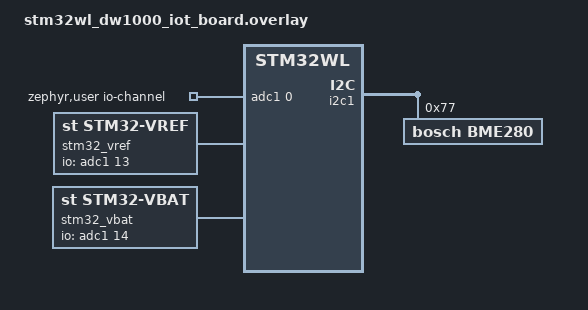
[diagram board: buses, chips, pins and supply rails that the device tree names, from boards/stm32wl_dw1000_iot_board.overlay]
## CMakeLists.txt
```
cmake_minimum_required(VERSION 3.20.0)

find_package(Zephyr REQUIRED HINTS $ENV{ZEPHYR_BASE})
project(stm32wle5_rtos_6sens)

FILE(GLOB app_sources src/*.c)
target_sources(app PRIVATE ${app_sources})
```

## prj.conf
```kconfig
# Debugger support
CONFIG_UART_CONSOLE=y
CONFIG_CONSOLE=y

# Communication Bus Support
CONFIG_GPIO=y
CONFIG_SPI=y
CONFIG_I2C=y

# Hardware Support
CONFIG_SENSOR=y
CONFIG_ADC=y

# Flash and EEPROM Memory Support
CONFIG_EEPROM=y
CONFIG_NVS=y
CONFIG_FLASH=y
CONFIG_FLASH_PAGE_LAYOUT=y
CONFIG_MPU_ALLOW_FLASH_WRITE=y

# LoRa Support
CONFIG_LORA=y

# LoraWAN Support
CONFIG_LORAWAN=y
CONFIG_LORAMAC_REGION_EU868=y
CONFIG_LORAWAN_APP_CLOCK_SYNC=y
CONFIG_LORAWAN_SERVICES=y
CONFIG_LORAWAN_SYSTEM_MAX_RX_ERROR=200

# Stack Support
CONFIG_MAIN_STACK_SIZE=2048
CONFIG_SYSTEM_WORKQUEUE_STACK_SIZE=2048
```

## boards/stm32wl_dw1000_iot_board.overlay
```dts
/*
 * Copyright (c) 2023
 * Regis Rousseau
 * Univ Lyon, INSA Lyon, Inria, CITI, EA3720
 * SPDX-License-Identifier: Apache-2.0
 */

/* configuration of ADC for geophone sensor */
/* adjust channel number according to pinmux in board.dts */
/* PB13 ADC_GSONE -> ADC_IN0 - see datasheet Pinout Config pg 57/149*/

/ {
	zephyr,user {
		io-channels = <&adc1 0>;
	};

/* channel IN0 configuration for geophone */
	#address-cells = <1>;
	#size-cells = <0>;
	channel@0 {
		reg = <0>;
		zephyr,gain = "ADC_GAIN_1";
		zephyr,reference = "ADC_REF_INTERNAL";
		zephyr,acquisition-time = <ADC_ACQ_TIME_MAX>;
		zephyr,resolution = <12>;
	};
	status = "okay";
};

/* VREF internal voltage monitoring */
/* internal voltage reference of STM32, IN13 - see datasheet pg 42/149 */
/* Vrefint = 1232mV max - see datasheet pg 78/149, table 36 */
/ {
	stm32_vref: stm32vref {
    	compatible = "st,stm32-vref";
		io-channels = <&adc1 13>;
		vrefint-cal-addr = <13>;
		vrefint-cal-mv = <1232>;
    	status = "okay";
	};
};

/* VBAT battery voltage monitoring - see datasheet pg 42/149, part 3.18.3 */
/* internal ADC channnel of STM32, IN14 */
/* ratio = 3 -> the converted digital value is 1/3 of vbat */
/ {
	stm32_vbat: stm32vbat {
    	compatible = "st,stm32-vbat";
    	io-channels = <&adc1 14>;
   		ratio = <3>;
    	status = "okay";
	};
};

/* config of BME280 sensor (temperature and Humidity) on i2c bus */
/* address 0x77 --> Address Chip Select on high level (VDD) */
&i2c1 {
	status = "okay";
	bme280@77 {
		compatible = "bosch,bme280";
		reg = <0x77>;
	};
};
```

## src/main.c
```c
#include <zephyr/device.h>
#include <zephyr/kernel.h>
#include "app_lorawan.h"
#include "app_flash.h"

//  ======== globals ============================================
uint16_t cnt;           // declaration of counter index

//  ======== interrupt sub-routine ===============================
void adc_work_handler(struct k_work *work_geo)
{
	const struct device *dev;
	app_rom_handler(dev);
	cnt++;
}
K_WORK_DEFINE(geo_work, adc_work_handler);

void adc_timer_handler(struct k_timer *timer)
{
	k_work_submit(&geo_work);
}
K_TIMER_DEFINE(adc_timer, adc_timer_handler, NULL);

//  ======== main ===============================================
int8_t main(void)
{
	const struct device *dev;
	struct nvs_fs fs;
	uint16_t vbat;
	cnt = 0;
	uint32_t max_cnt = 0;
	int8_t ret;
	
	// initialization of all devices
	app_bme280_init(dev);
	app_stm32_vbat_init(dev);
	app_rom_init(dev);
	app_flash_init(&fs);

	// initialization of LoRaWAN
	app_lorawan_init(dev);

	printk("Geophone Measurement and Process Information\nBoard: %s\n", CONFIG_BOARD);
	
	// beginning of isr timer
	k_timer_start(&adc_timer, K_NO_WAIT, K_MSEC(5));

	while (1) {
		// counter value for waiting 30 min -> 1 800 000ms
		if (cnt >= 1800000) {
			app_flash_handler(&fs);
		}
	}
	return 0;
}
```

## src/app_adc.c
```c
/*
 * Copyright (c) 2023
 * Regis Rousseau
 * Univ Lyon, INSA Lyon, Inria, CITI, EA3720
 * SPDX-License-Identifier: Apache-2.0
 */

#include "app_adc.h"

//  ======== globals ============================================
uint16_t sp_buf;		

static const struct adc_dt_spec adc_channels[] = {
	DT_FOREACH_PROP_ELEM(DT_PATH(zephyr_user), io_channels, DT_SPEC_AND_COMMA)
};

struct adc_sequence adc_ch0_seq = {
	.buffer 		= &sp_buf,
	.buffer_size	= sizeof(sp_buf),
};

//  ======== app_adc_get_val ====================================
uint16_t app_adc_get_val(uint16_t val)
{
	int8_t err;
	uint16_t val_mv, buf;

	// getting STM32 ADC device at GPIO IN0 PB13
	for (size_t i = 0U; i < ARRAY_SIZE(adc_channels); i++) {
		if (!device_is_ready(adc_channels[i].dev)) {
			printk("ADC controller device %s not ready\n", adc_channels[i].dev->name);
		return 0;
		}
		
		// getting channel setup in devicetree
		err = adc_channel_setup_dt(&adc_channels[i]);
		if (err < 0) {
			printk("could not setup channel 0. error: %d\n", err);
			return 0;
		}
	}

	for (size_t i = 0U; i < ARRAY_SIZE(adc_channels); i++) {
		// initialization of channel and getting data
		(void)adc_sequence_init_dt(&adc_channels[i], &adc_ch0_seq);

		// getting value and printing numerical data
		// resolution 12 bits: 0 to 4095 (uint16)
		(void)adc_read(adc_channels[i].dev, &adc_ch0_seq);
		buf = (sp_buf*val)/4096;
		val_mv = (sp_buf*val)/3300;
		printk("buffer: %"PRIu16", adc num: %"PRIu16" - adc mv: %"PRIu16"\n", sp_buf, buf, val_mv);
	}
	return buf;
}
```

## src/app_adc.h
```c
/*
 * Copyright (c) 2023
 * Regis Rousseau
 * Univ Lyon, INSA Lyon, Inria, CITI, EA3720
 * SPDX-License-Identifier: Apache-2.0
 */

#ifndef APP_ADC_H
#define APP_ADC_H

//  ======== includes =============================================
#include <zephyr/kernel.h>
#include <zephyr/device.h>
#include <zephyr/drivers/adc.h>

//  ======== defines ==============================================
#define DT_SPEC_AND_COMMA(node_id, prop, idx)   ADC_DT_SPEC_GET_BY_IDX(node_id, idx)

//  ======== prototypes ===========================================
uint16_t app_adc_get_val(uint16_t val);

#endif /* APP_ADC_H */
```

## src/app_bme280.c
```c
/*
 * Copyright (c) 2023
 * Regis Rousseau
 * Univ Lyon, INSA Lyon, Inria, CITI, EA3720
 * SPDX-License-Identifier: Apache-2.0
 */

#include "app_bme280.h"

//  ======== app_bme280_init ============================================
int8_t app_bme280_init(const struct device *dev)
{
    // getting bme280 sensor i2c device (SDA: PA10, SCL:PA8)
    dev = DEVICE_DT_GET_ANY(bosch_bme280);
    if (dev == NULL) {
        printk("error: no bme280 device found\n");
		return 0;
	}

    if (!device_is_ready(dev)) {
		printk("error: bme280 is not ready\n");
		return 0;
	} else {
        printk("- found device \"%s\", getting bme280 data\n", dev->name);
    }
    return 0;
}

//  ======== app_bme280_get_temp ========================================
uint16_t app_bme280_get_temp(const struct device *dev)
{
    struct sensor_value temp_int32;
    uint16_t temp_uint16;
    int8_t ret;

    // fetching data
	ret = sensor_sample_fetch(dev);
    if (ret < 0 && ret != -EBADMSG) { 
	    printk("bme280 device sample is not up to date. error: %d\n", ret);
	    return 0;
    }

    // getting channel function
	ret = sensor_channel_get(dev, SENSOR_CHAN_AMBIENT_TEMP, &temp_int32);
    if (ret < 0) {
        printk("can't read sensor channels. error: %d\n", ret);
	    return 0;
    }

    // temperature received from channel get
    // resolution 12 bits: 0 to 4095 (uint16)
    temp_uint16 = (uint16_t)(sensor_value_to_milli(&temp_int32)/1000);
    printk("bme280 temp: %"PRIu16"\n", temp_uint16);
    return temp_uint16;
}

//  ======== app_bme280_get_press =======================================
uint16_t app_bme280_get_press(const struct device *dev)
{
    struct sensor_value press_int32;
    uint16_t press_uint16;
    int8_t ret;


    // fetching data
	ret = sensor_sample_fetch(dev);
    if (ret < 0 && ret != -EBADMSG) { 
	    printk("bme280 device sample is not up to date. error: %d\n", ret);
	    return 0;
    }

    // getting channel function
	ret = sensor_channel_get(dev, SENSOR_CHAN_PRESS, &press_int32);
    if (ret < 0) {
        printk("can't read sensor channels. error: %d\n", ret);
	    return 0;
    }

    // pressure received from channel get
    // resolution 12 bits: 0 to 4095 (uint16)
    press_uint16 = (uint16_t)(sensor_value_to_milli(&press_int32)/1000);
    printk("bme280 pressure: %"PRIu16"\n", press_uint16);
    return press_uint16;
}

//  ======== app_bme280_get_hum =========================================
uint16_t app_bme280_get_hum(const struct device *dev)
{
    struct sensor_value hum_int32;
    uint16_t hum_uint16;
    int8_t ret;

    // fetching data
	ret = sensor_sample_fetch(dev);
    if (ret < 0 && ret != -EBADMSG) { 
	    printk("bme280 device sample is not up to date. error: %d\n", ret);
	    return 0;
    }

    // getting channel function
	ret = sensor_channel_get(dev, SENSOR_CHAN_HUMIDITY, &hum_int32);
    if (ret < 0) {
        printk("can't read sensor channels. error: %d\n", ret);
	    return 0;
    }

    // humidity received from channel get
    // resolution 12 bits: 0 to 4095 (uint16)
	hum_uint16 = (uint16_t)(100-(sensor_value_to_milli(&hum_int32)/1000));
    printk("bme280 humidity: %"PRIu16"\n", hum_uint16);
    return hum_uint16;
}
```

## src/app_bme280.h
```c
/*
 * Copyright (c) 2023
 * Regis Rousseau
 * Univ Lyon, INSA Lyon, Inria, CITI, EA3720
 * SPDX-License-Identifier: Apache-2.0
 */

#ifndef APP_BME280_H
#define APP_BME280_H

//  ======== includes ==============================================
#include <zephyr/kernel.h>
#include <zephyr/device.h>
#include <zephyr/drivers/sensor.h>

//  ======== prototypes ============================================
int8_t app_bme280_init(const struct device *dev);
int16_t app_bme280_get_temp(const struct device *dev);
uint16_t app_bme280_get_press(const struct device *dev);
uint16_t app_bme280_get_hum(const struct device *dev);


#endif /* APP_BME280_H */
```

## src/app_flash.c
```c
/*
 * Copyright (c) 2023
 * Regis Rousseau
 * Univ Lyon, INSA Lyon, Inria, CITI, EA3720
 * SPDX-License-Identifier: Apache-2.0
 */

#include "app_vbat.h"
#include "app_bme280.h"
#include "app_flash.h"

//  ======== globals ============================================
int8_t ind;		// declaration of isr index

//  ======== app_flash_init =====================================
int8_t app_flash_init(struct nvs_fs *fs)
{
	struct flash_pages_info info;
	int8_t ret;
	ssize_t size;

	// configuration of storage partition in flash memory
	fs->flash_device = NVS_PARTITION_DEVICE;
	if (!device_is_ready(fs->flash_device)) {
		printk("flash device \"%s\" is not ready\n", fs->flash_device->name);
		return 0;
	} else {
		printk("- found device: \"%s\", getting nvs memory\n", fs->flash_device->name);
	}

	fs->offset = NVS_PARTITION_OFFSET;
	ret = flash_get_page_info_by_offs(fs->flash_device, fs->offset, &info);
	if (ret) {
		printk("unable to get page info. error: %d\n", ret);
		return 0;
	}
	
	fs->sector_size = info.size;
	if (!fs->sector_size || fs->sector_size % info.size) {
		printk("invalid sector size\n");
		return 0;
	}
	printk("sector size: %d\n", info.size);

	// mounting data storage partition in flash memory
	fs->sector_count = 4U;
	ret = nvs_mount(fs);
	if (ret) {
		printk("flash init failed. error: %d\n", ret);
		return 0;
	}

	// cleaning data storage partition
	(void)nvs_delete(fs, NVS_SENSOR_ID);
	size =  nvs_calc_free_space(fs);
	printk("flash memory partition size: %d\n", size);

	// initialisation of isr index
	ind = 0;	
	return 0;
}

//  ======== app_flash_write ====================================
int8_t app_flash_store(struct nvs_fs *fs, struct vtph *data)
{	
	// writing data in the first page of 2kbytes
	(void)nvs_write(fs, NVS_SENSOR_ID, &data, sizeof(data));

	// printing data to be stored in memory
	for (ind = 0; ind < NVS_MAX_RECORDS; ind++) {
		printk("wrt -> vbat: %"PRIu16", temp: %d, press: %"PRIu16", hum: %"PRIu16"\n", data[ind].vbat, data[ind].temp, data[ind].press, data[ind].hum);
	}

	// reading the first page
	(void)nvs_read(fs, NVS_SENSOR_ID, &data, sizeof(data));

	// printing data stored in memory
	for (ind = 0; ind < NVS_MAX_RECORDS; ind++) {
		printk("rd -> vbat: %"PRIu16", temp: %"PRIu16", press: %"PRIu16", hum: %"PRIu16"\n", data[ind].vbat, data[ind].temp, data[ind].press, data[ind].hum);
	}
	return 0;
}

//  ======== app_flash_handler ==================================
int8_t app_flash_handler(struct nvs_fs *fs)
{
	uint16_t vbat, temp, press, hum;
	const struct device *bme_dev;
	const struct device *bat_dev;
	const struct device *ref_dev;
	uint16_t vref;
	struct vtph data[NVS_MAX_RECORDS];

	// getting all sensor devices
	bat_dev = DEVICE_DT_GET_ONE(st_stm32_vbat);
	ref_dev = DEVICE_DT_GET_ONE(st_stm32_vref);
	bme_dev = DEVICE_DT_GET_ANY(bosch_bme280);
	vref = app_stm32_get_vref(ref_dev);

	// putting n structures in fisrt page for this test
	while (ind < NVS_MAX_RECORDS) {
		data[ind].vbat = app_stm32_get_vbat(bat_dev, vref);
		data[ind].temp = app_bme280_get_temp(bme_dev);
		data[ind].press = app_bme280_get_press(bme_dev);
		data[ind].hum = app_bme280_get_hum(bme_dev);
		ind++;
	}
	// writing and reading stored data
	app_flash_store(fs, &data);

	// cleaning data storage partitiony
	(void)nvs_delete(fs, NVS_SENSOR_ID);
	ind = 0;
	return 0;
}

//  ======== app_flash_init_param ===============================
int8_t app_flash_init_param(struct nvs_fs *fs, uint16_t id, void *data)
{
	int8_t ret;

	ret = nvs_read(fs, id, data, sizeof(data));
	if (ret > 0) {
		printk("ID: %d, address: %s\n", id, data);
	} else {
		printk("no address found, adding %s at id %d\n", data, id);
		(void)nvs_write(fs, id, data, sizeof(data));	
	}
	return 0;
}
```

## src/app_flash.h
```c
/*
 * Copyright (c) 2023
 * Regis Rousseau
 * Univ Lyon, INSA Lyon, Inria, CITI, EA3720
 * SPDX-License-Identifier: Apache-2.0
 */

#ifndef APP_FLASH_H
#define APP_FLASH_H

//  ======== includes ==============================================
#include <zephyr/kernel.h>
#include <zephyr/device.h>
#include <zephyr/fs/nvs.h>
#include <zephyr/drivers/flash.h>
#include <zephyr/storage/flash_map.h>

//  ======== globals ===============================================
struct vtph {
	uint16_t vbat;
	uint16_t temp;
	uint16_t press;
	uint16_t hum;
};

//  ======== defines ===============================================
#define NVS_PARTITION			storage_partition
#define NVS_PARTITION_DEVICE	FIXED_PARTITION_DEVICE(NVS_PARTITION)
#define NVS_PARTITION_OFFSET	FIXED_PARTITION_OFFSET(NVS_PARTITION)
#define NVS_MAX_RECORDS         96       // 1 structure: 4 samples (vbat, temp, press, hum) = 8 bytes
                                         // 4 samples every 15 min
#define NVS_DEVNONCE_ID			0										 
#define NVS_SENSOR_ID           1                                       

//  ======== prototypes ============================================
int8_t app_flash_init(struct nvs_fs *fs);
int8_t app_flash_store(struct nvs_fs *fs, struct vtph *data);
int8_t app_flash_handler(struct nvs_fs *fs);
int8_t app_flash_init_param(struct nvs_fs *fs, uint16_t id, void *data);

#endif /* APP_FLASH_H */
```

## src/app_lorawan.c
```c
/*
 * Copyright (c) 2023
 * Regis Rousseau
 * Univ Lyon, INSA Lyon, Inria, CITI, EA3720
 * SPDX-License-Identifier: Apache-2.0
 */

 #include "app_lorawan.h"
 #include "app_flash.h"

//  ======== globals ============================================
// downlink callback
static void dl_callback(uint8_t port, bool data_pending, int16_t rssi, int8_t snr, uint8_t len, const uint8_t *data)
{
	printk("downlink data received: ");
    for(int8_t i=0; i < len; i++) {
		printk("%02X ", data[i]);
	}
    printk("\n");
	printk("port: %d, pending: %d, RSSI: %ddB, SNR: %dBm\n", port, data_pending, rssi, snr);
}

// adr change callback
static void lorwan_datarate_changed(enum lorawan_datarate dr)
{
	uint8_t unused, max_size;

	lorawan_get_payload_sizes(&unused, &max_size);
	printk("new datarate: DR_%d, max payload: %d\n", dr, max_size);
}

static const struct gpio_dt_spec led_tx = GPIO_DT_SPEC_GET(LED_TX, gpios);
static const struct gpio_dt_spec led_rx = GPIO_DT_SPEC_GET(LED_RX, gpios);

//  ======== app_loarwan_init ===================================
int8_t app_lorawan_init(const struct device *dev)
{
    struct lorawan_join_config join_cfg;
	static struct nvs_fs fs;
	uint16_t dev_nonce = 0u;

    int8_t ret;
	int8_t itr = 1;
	ssize_t err;
	uint8_t dev_eui[] 	= LORAWAN_DEV_EUI;
	uint8_t join_eui[]	= LORAWAN_JOIN_EUI;
	uint8_t app_key[]	= LORAWAN_APP_KEY;

    // setup tx led at GPIO PC0
    ret = gpio_pin_configure_dt(&led_tx, GPIO_OUTPUT_ACTIVE);
	if (ret < 0) {
		return 0;
	}
	// setup rx led at GPIO PC1
    ret = gpio_pin_configure_dt(&led_rx, GPIO_OUTPUT_ACTIVE);
	if (ret < 0) {
		return 0;
	}

	// initialization and reading/writing the devnonce parameter
	app_flash_init(&fs);
	app_flash_init_param(&fs, NVS_DEVNONCE_ID, &dev_nonce);

	 printk("starting lorawan node\n");
    // getting lora sx1276 device
	dev = DEVICE_DT_GET(DT_ALIAS(lora0));
	if (!device_is_ready(dev)) {
		printk("%s: device not ready\n", dev->name);
		return 0;
	}

	printk("starting lorawan stack\n");
    // starting device
	ret = lorawan_set_region(LORAWAN_REGION_EU868);
	ret = lorawan_start();
	if (ret < 0) {
		printk("lorawan_start failed. error: %d\n", ret);
		return 0;
	}

     // enable adr
    lorawan_enable_adr(true);

	// enable callbacks
	struct lorawan_downlink_cb downlink_cb = {
		.port = LW_RECV_PORT_ANY,
		.cb = dl_callback
	};
	lorawan_register_downlink_callback(&downlink_cb);
	lorawan_register_dr_changed_callback(lorwan_datarate_changed);  

	// configuration of lorawan parameters 
    join_cfg.mode = LORAWAN_ACT_OTAA;
	join_cfg.dev_eui = dev_eui;
	join_cfg.otaa.join_eui = join_eui;
	join_cfg.otaa.app_key = app_key;
	join_cfg.otaa.nwk_key = app_key;
	join_cfg.otaa.dev_nonce = dev_nonce;

	do {
		printk("joining network using OTAA, dev nonce %d, attempt %d\n", join_cfg.otaa.dev_nonce, itr++);
		ret = lorawan_join(&join_cfg);

		// flashing of the LED when a packet is received
		ret = gpio_pin_toggle_dt(&led_rx);
			if (ret < 0) {
				return 0;
			}

		if (ret < 0) {
			if ((ret =-ETIMEDOUT)) {
				printk("timed-out waiting for response.\n");
			} else {
				printk("join network failed. error: %d\n", ret);
			}
		} else {
			printk("OTAA join successful\n");
		}

		dev_nonce++;
		join_cfg.otaa.dev_nonce = dev_nonce;

		// save value away in Non-Volatile Storage.
		err = nvs_write(&fs, NVS_DEVNONCE_ID, &dev_nonce, sizeof(dev_nonce));
		if (err < 0) {
			printk("NVS: failed to write id %d. error: %d\n", NVS_DEVNONCE_ID, err);
		}

		if (ret < 0) {
			// if failed, wait before re-trying.
			k_sleep(DELAY);
		}
	} while (ret != 0);
    return 0;
}

//  ======== app_loarwan_get_time ===============================
time_t app_lorawan_get_time(const struct device *dev)
{
    int8_t ret;
    uint32_t gps_time;
	time_t unix_time;
	struct tm timeinfo;
	char buf[32];

    // getting lora sx1276 device
    dev = DEVICE_DT_GET(DT_ALIAS(lora0));
	if (!device_is_ready(dev)) {
		printk("%s: device not ready\n", dev->name);
		return 0;
	}
	
    // getting timstamp from lorawan
    lorawan_clock_sync_run();
    ret = lorawan_clock_sync_get(&gps_time);
	if (ret != 0) { 
			printk("lorawan_clock_sync_get failed. error: %d\n", ret);
		} else {
			/* 
			 * The difference in time between UNIX (epoch Jan 1st 1970) and
			 * GPS (epoch Jan 6th 1980) is 315964800 seconds. This is a bit
			 * of a fudge as it doesn't take into account leap seconds and 
			 * hence is out by roughly 18 seconds. 
			 *
			 */
			unix_time = gps_time - 315964800;
			localtime_r(&unix_time, &timeinfo);
			strftime(buf, sizeof(buf), "%A %B %d %Y %I:%M:%S %p %Z", &timeinfo);
			printk("GPS Time: %lu, UTC Time: %s", gps_time, buf);
		}
    return unix_time;
}

//  ======== app_loarwan_handler ================================
int8_t app_lorawan_handler(const struct device *dev, uint16_t *data_tx)
{   
    int8_t ret;

    dev = DEVICE_DT_GET(DT_ALIAS(lora0));

    // transmission of packets on lorawan protocole
	printk("sending data...\n");
	ret = lorawan_send(2, data_tx, sizeof(data_tx), LORAWAN_MSG_CONFIRMED);
	if (ret == -EAGAIN) {
			printk("lorawan_send failed: %d. continuing...\n", ret);
			k_sleep(DELAY);
			return 0;
	} else if (ret < 0) {
		printk("lorawan_send failed: %d. continuing...\n", ret);
		k_sleep(DELAY);
		return 0;;
	}

    // flashing of the LED when a packet is transmitted
	ret = gpio_pin_toggle_dt(&led_tx);
	if (ret < 0) {
		return 0;
	}
	printk("data sent !\n");
	//k_sleep(DELAY);
	return 0;
}
```

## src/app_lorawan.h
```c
/*
 * Copyright (c) 2023
 * Regis Rousseau
 * Univ Lyon, INSA Lyon, Inria, CITI, EA3720
 * SPDX-License-Identifier: Apache-2.0
 */

#ifndef APP_LORAWAN__H
#define APP_LORAWAN__H

#include <zephyr/device.h>
#include <zephyr/kernel.h>
#include <zephyr/drivers/gpio.h>
#include <zephyr/lorawan/lorawan.h>
#include <zephyr/posix/time.h>

//  ======== defines ===============================================
#define LED_TX                  DT_ALIAS(led0)
#define LED_RX                  DT_ALIAS(led1)
#define DELAY 			        K_MSEC(5000)

// OTAA
#define LORAWAN_DEV_EUI			{ 0x70, 0xB3, 0xD5, 0x7E, 0xD0, 0x06, 0x21, 0xA5 }
#define LORAWAN_JOIN_EUI		{ 0x00, 0x00, 0x00, 0x00, 0x00, 0x00, 0x00, 0x00 }
#define LORAWAN_APP_KEY			{ 0xC7, 0x32, 0x0F, 0x37, 0xFF, 0x62, 0xE0, 0xA8, 0x4E, 0x94, 0xC1, 0x9C, 0x27, 0x2B, 0xFA, 0x4C }

//  ======== prototypes ============================================
int8_t app_lorawan_init(const struct device *dev);
int8_t app_lorawan_handler(const struct device *dev, uint16_t *data_tx);
time_t app_lorawan_get_time(const struct device *dev);

#endif /* APP_LORAWAN__H */
```

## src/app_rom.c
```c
/*
 * Copyright (c) 2023
 * Regis Rousseau
 * Univ Lyon, INSA Lyon, Inria, CITI, EA3720
 * SPDX-License-Identifier: Apache-2.0
 */

#include "app_rom.h"
#include "app_flash.h"

//  ======== globals ============================================
uint8_t dev_eui[] = LORAWAN_DEV_EUI;
int32_t times = 1678984720;;

struct rom_data {
	uint8_t *id;
	int32_t timestamp;
	uint16_t val;
};

int8_t ind_r;		// index used by Interrupt Service Routine

//  ======== app_rom_init =========================================
 int8_t app_rom_init(const struct device *dev)
 {
    int8_t ret;
	ssize_t size;

	// getting eeprom device
	dev = DEVICE_DT_GET(DT_ALIAS(eeprom0));

    if (dev == NULL) {
		printk("no eeprom device found. error: %d\n", dev);
		return 0;
	}
    if (!device_is_ready(dev)) {
		printk("eeprom is not ready\n");
		return 0;
	} else {
        printk("- found device \"%s\", writing/reading data\n", dev->name);
    }

	// erasing 1 page at @0x00
	ret  = flash_erase(dev, ROM_OFFSET, 1024*ROM_PAGE_SIZE);
	if (ret) {
		printk("error erasing flash. error: %d\n", ret);
	} else {
		printk("erased all pages\n");
	}

	// initialisation of isr index
	ind_r = 0;	// initialisation of isr index
	return 0;
}

//  ======== app_rom_write ========================================
int8_t app_rom_write(const struct device *dev, void *data)
{
	int8_t ret;
	dev = DEVICE_DT_GET(DT_ALIAS(eeprom0));

	// writing data in the first page of 2kbytes
	ret = flash_write(dev, ROM_OFFSET, data, sizeof(data));
	if (ret) {
		printk("error writing data. error: %d\n", ret);
	} else {
		printk("wrote %zu bytes to address 0x00\n", sizeof(data));
	}
	return 0;
}

//  ======== app_rom_read =========================================
int8_t app_rom_read(const struct device *dev)
{
	int8_t ret;
	struct rom_data data[ROM_BUFFER_SIZE];
	dev = DEVICE_DT_GET(DT_ALIAS(eeprom0));

	// reading the first page
	ret = flash_read(dev, ROM_OFFSET, data, sizeof(data));
	if (ret) {
		printk("error reading data.. error: %d\n", ret);
	} else {
		printk("read %zu bytes from address 0x00\n", sizeof(data));
	}
	// printing data
	for (int8_t i = 0; i < ROM_MAX_RECORDS; i++) {
		printk("val: %"PRIu16"\n", data[i].val);
	}
	return 0;
}

//  ======== app_rom_handler ======================================
int8_t app_rom_handler(const struct device *dev)
{
	int8_t ret;
	const struct device *lora_dev;
	struct rom_data data[ROM_BUFFER_SIZE];
	static struct nvs_fs fs;
	uint16_t adc_val;

	// getting lora sx1276 device and eeprom device
	lora_dev = DEVICE_DT_GET(DT_ALIAS(lora0));
	//dev = DEVICE_DT_GET(DT_ALIAS(eeprom0));

	// getting value of the geophone from the adc
	adc_val = app_adc_get_val();
	printk("adc val: %"PRIu16"", adc_val);

	// definition of a trigger threshold
/*	if (adc_val > THRESHOLD){

		// putting 36 structures in all page (1024 pages in this eeprom)
		if (ind_r < ROM_MAX_RECORDS) {
			data[ind_r].id = dev_eui;
			data[ind_r].timestamp = times;
			data[ind_r].val = adc_val;

			(void)nvs_write(&fs, NVS_ADC_ID, data, sizeof(data));
			
			ind_r++;
		} else {
			// writing data in pages of eeprom
			//	app_rom_write(dev, data);

			// sending data
			printk("data sent: %"PRIu16"\n", data->val);
			app_lorawan_handler(lora_dev, data);
			ind_r = 0;
		}
	}*/
	return 0;
}
```

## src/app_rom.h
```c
/*
 * Copyright (c) 2023
 * Regis Rousseau
 * Univ Lyon, INSA Lyon, Inria, CITI, EA3720
 * SPDX-License-Identifier: Apache-2.0
 */
 
#ifndef APP_ROM_H_
#define APP_ROM_H_

//  ======== includes =============================================
#include <zephyr/kernel.h>
#include <zephyr/device.h>
#include <zephyr/drivers/flash.h>

//  ======== defines ==============================================
#define ROM_OFFSET              0x00
#define ROM_PAGE_SIZE           512
#define ROM_BUFFER_SIZE         14   // 1 structure: ID+timestamp+value = 14 bytes
#define ROM_MAX_RECORDS         36   // number of structures to store per page
#define LORAWAN_DEV_EUI		    { 0x70, 0xB3, 0xD5, 0x7E, 0xD0, 0x06, 0x21, 0xA5 } 
#define THRESHOLD               2048    // for now, VDD/2  
                                        
//  ======== prototypes ===========================================
int8_t app_rom_init(const struct device *dev);
int8_t app_rom_write(const struct device *dev, void *data);
int8_t app_rom_read(const struct device *dev);
int8_t app_rom_handler(const struct device *dev);


#endif /* APP_ROM_H_ */
```

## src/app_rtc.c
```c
/*
 * Copyright (c) 2023
 * Regis Rousseau
 * Univ Lyon, INSA Lyon, Inria, CITI, EA3720
 * SPDX-License-Identifier: Apache-2.0
 */

#include "app_rtc.h"
#include "drv_rtc.h"

//  ======== app_stm32_rtc_init =============================================
int8_t app_stm32_rtc_init(const struct device *dev)
{
    // getting internal vbat ADC device at GPIO PB14
    dev = DEVICE_DT_GET(TIMER);

    if (dev == NULL) {
        printk("error: no stm32 rtc device found\n");
		return 0;
	}

    if (!device_is_ready(dev)) {
		printk("error: stm32 rtc is not ready\n");
		return 0;
	} else {
        printk("- found device \"%s\", getting timestamp\n", dev->name);
    }
    return 0;
}

//  ======== app_stm32_get_rtc ==============================================
int8_t app_stm32_get_rtc(const struct device *dev)
{
    struct rtc_raw_ts *timestamp;
    struct rtc_ts raw_time;

    stm32_rtc_initialize(dev);
    stm32_rtc_getTimestamp(timestamp);
    
//    raw_time = rtc_ts_fromRaw(timestamp);
//   printk("d: %d, t: %d, ms: %d\n", raw_time.d, raw_time.t, raw_time.ms);

    return 0;
}
```

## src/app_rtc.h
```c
/*
 * Copyright (c) 2023
 * Regis Rousseau
 * Univ Lyon, INSA Lyon, Inria, CITI, EA3720
 * SPDX-License-Identifier: Apache-2.0
 */

#ifndef APP_RTC_H
#define APP_RTC_H

//  ======== includes ============================================
#include <zephyr/kernel.h>
#include <zephyr/device.h>
#include <zephyr/drivers/gpio.h>
#include <zephyr/drivers/counter.h>
#include <zephyr/posix/time.h>

//  ======== defines =============================================
#define TIMER DT_INST(0, st_stm32_rtc)

//  ======== prototypes ===========================================
int8_t app_stm32_rtc_init(const struct device *dev);
int8_t app_stm32_get_rtc(const struct device *dev);
#endif /* APP_SENSOR_H */
```
